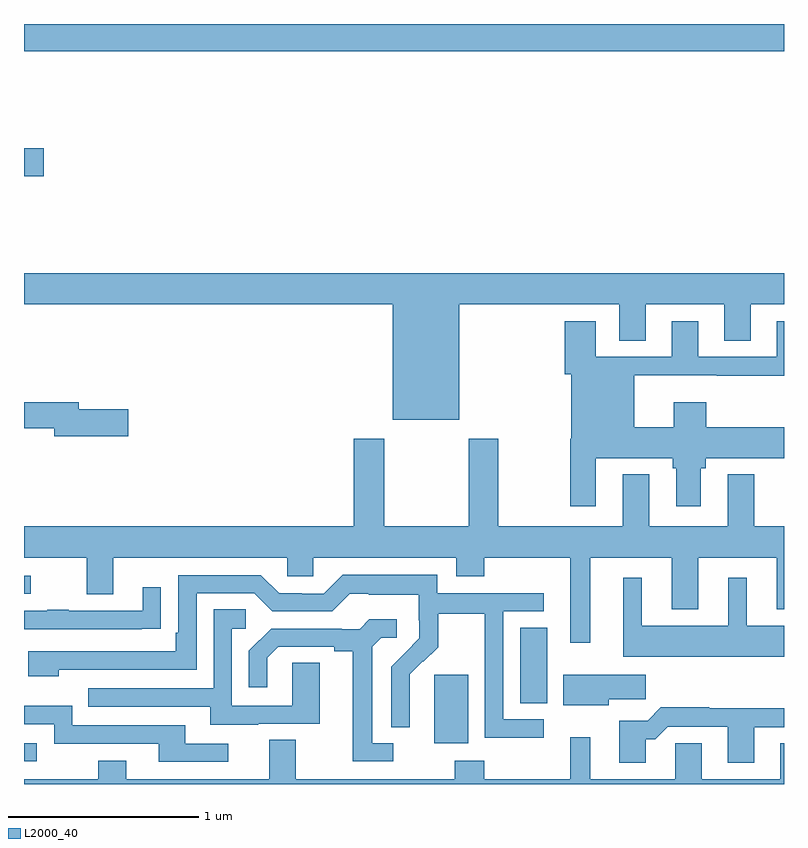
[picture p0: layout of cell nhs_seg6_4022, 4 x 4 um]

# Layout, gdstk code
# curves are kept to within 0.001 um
import gdstk
lib = gdstk.Library(unit=1e-6, precision=1e-09)
def R(c, l, rs):  # rectangles x0, y0, x1, y1
    for r in rs: c.add(gdstk.rectangle(r[:2], r[2:], *l))
def P(c, l, *ps):  # polygons
    for p in ps: c.add(gdstk.Polygon(p, *l))
L2000_40 = (2000, 40)

nhs_seg6_4022 = lib.new_cell('nhs_seg6_4022')
R(nhs_seg6_4022, L2000_40, [(349,923.619,349.066,923.715), (351.158,923.714,351.337,924.075), (351.611,923.926,351.754,924.323), (349,924.501,349.036,924.597), (349,926.699,349.105,926.846), (349,927.356,353,927.5)])
P(nhs_seg6_4022, L2000_40, [(351.292,926.024),(352.133,926.024),(352.133,925.834),(352.273,925.834),(352.273,926.024),(352.685,926.024),(352.685,925.834),(352.825,925.834),(352.825,926.024),(353,926.024),(353,926.188),(349,926.188),(349,926.024),(350.942,926.024),(350.942,925.418),(351.292,925.418)],
  [(352.009,925.214),(352.414,925.214),(352.414,925.161),(352.433,925.161),(352.433,924.963),(352.561,924.963),(352.561,925.161),(352.587,925.161),(352.587,925.214),(353,925.214),(353,925.378),(352.592,925.378),(352.592,925.51),(352.421,925.51),(352.421,925.378),(352.213,925.378),(352.213,925.652),(352.645,925.652),(352.645,925.648),(353,925.648),(353,925.936),(352.961,925.936),(352.961,925.749),(352.549,925.749),(352.549,925.936),(352.409,925.936),(352.409,925.749),(352.009,925.749),(352.009,925.936),(351.845,925.936),(351.845,925.656),(351.881,925.656),(351.881,925.318),(351.874,925.318),(351.874,924.963),(352.009,924.963)],
  [(349.549,925.472),(349.288,925.472),(349.288,925.508),(349,925.508),(349,925.372),(349.16,925.372),(349.16,925.33),(349.549,925.33)],
  [(351.979,924.692),(352.409,924.692),(352.409,924.419),(352.549,924.419),(352.549,924.692),(352.961,924.692),(352.961,924.419),(353,924.419),(353,924.856),(352.843,924.856),(352.843,925.129),(352.703,925.129),(352.703,924.856),(352.291,924.856),(352.291,925.129),(352.151,925.129),(352.151,924.856),(351.495,924.856),(351.495,925.318),(351.34,925.318),(351.34,924.856),(350.895,924.856),(350.895,925.318),(350.735,925.318),(350.735,924.856),(349,924.856),(349,924.692),(349.331,924.692),(349.331,924.498),(349.471,924.498),(349.471,924.692),(350.385,924.692),(350.385,924.594),(350.523,924.594),(350.523,924.692),(351.275,924.692),(351.275,924.593),(351.423,924.593),(351.423,924.692),(351.875,924.692),(351.875,924.243),(351.979,924.243)],
  [(351.736,923.841),(351.522,923.841),(351.522,924.408),(351.736,924.408),(351.736,924.504),(351.174,924.504),(351.174,924.601),(350.677,924.601),(350.577,924.501),(350.462,924.501),(350.462,924.504),(350.343,924.504),(350.247,924.6),(349.812,924.6),(349.812,924.295),(349.799,924.295),(349.799,924.198),(349.023,924.198),(349.023,924.068),(349.184,924.068),(349.184,924.102),(349.908,924.102),(349.908,924.504),(350.211,924.504),(350.307,924.408),(350.622,924.408),(350.715,924.501),(350.815,924.501),(350.815,924.497),(351.078,924.497),(351.078,924.363),(351.08,924.363),(351.08,924.266),(350.934,924.118),(350.934,923.8),(351.03,923.8),(351.029,924.077),(351.099,924.147),(351.102,924.144),(351.179,924.221),(351.179,924.396),(351.424,924.396),(351.424,924.172),(351.426,924.172),(351.426,923.743),(351.736,923.743)],
  [(353,924.334),(352.804,924.334),(352.804,924.586),(352.706,924.586),(352.706,924.334),(352.252,924.334),(352.252,924.586),(352.154,924.586),(352.154,924.17),(353,924.17)],
  [(349.619,924.316),(349.721,924.316),(349.721,924.535),(349.625,924.535),(349.625,924.411),(349.235,924.411),(349.235,924.416),(349.123,924.416),(349.123,924.411),(349,924.411),(349,924.315),(349.619,924.315)],
  [(350.233,923.817),(350.557,923.817),(350.557,924.137),(350.412,924.137),(350.412,923.913),(350.094,923.913),(350.094,924.318),(350.167,924.318),(350.167,924.419),(349.998,924.419),(349.998,924.003),(349.339,924.003),(349.339,923.907),(349.979,923.907),(349.979,923.813),(350.233,923.813)],
  [(350.944,923.715),(350.833,923.715),(350.833,924.223),(350.88,924.27),(350.962,924.27),(350.962,924.367),(350.818,924.367),(350.766,924.315),(350.672,924.315),(350.672,924.318),(350.3,924.318),(350.184,924.202),(350.184,924.009),(350.281,924.009),(350.281,924.165),(350.338,924.222),(350.633,924.222),(350.633,924.2),(350.729,924.2),(350.729,923.619),(350.944,923.619)],
  [(352.078,923.947),(352.273,923.947),(352.273,924.076),(351.839,924.076),(351.839,923.915),(352.078,923.915)],
  [(350.074,923.712),(349.849,923.712),(349.849,923.808),(349.254,923.808),(349.254,923.911),(349,923.911),(349,923.814),(349.158,923.814),(349.158,923.712),(349.709,923.712),(349.709,923.616),(350.074,923.616)],
  [(352.273,923.735),(352.322,923.735),(352.389,923.802),(352.703,923.802),(352.703,923.613),(352.843,923.613),(352.843,923.799),(353,923.799),(353,923.9),(352.607,923.9),(352.607,923.903),(352.352,923.903),(352.282,923.833),(352.133,923.833),(352.133,923.613),(352.273,923.613)],
  [(353,923.714),(352.979,923.714),(352.979,923.524),(352.567,923.524),(352.567,923.714),(352.428,923.714),(352.428,923.524),(351.979,923.524),(351.979,923.746),(351.875,923.746),(351.875,923.524),(351.423,923.524),(351.423,923.623),(351.268,923.623),(351.268,923.524),(350.431,923.524),(350.431,923.732),(350.291,923.732),(350.291,923.524),(349.537,923.524),(349.537,923.623),(349.39,923.623),(349.39,923.524),(349,923.524),(349,923.5),(353,923.5)])

lib.write_gds('nhs_seg6_4022.gds')
